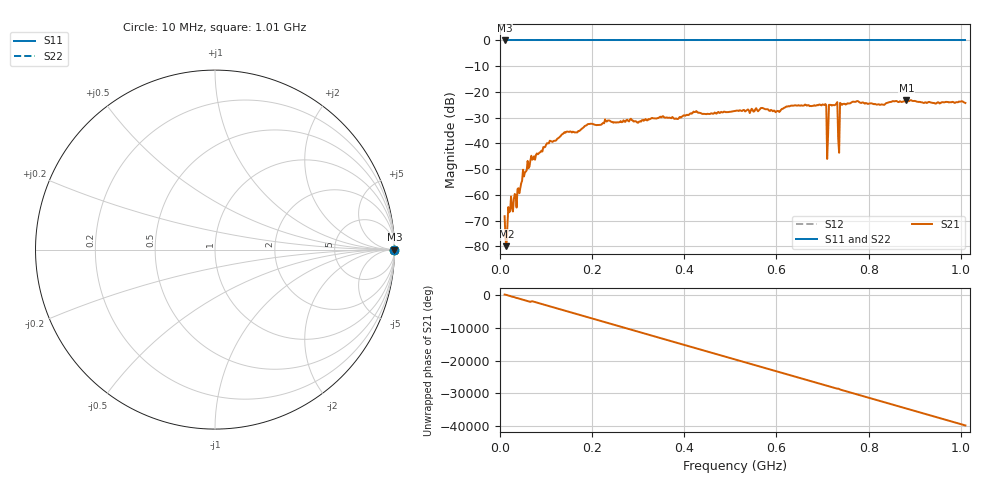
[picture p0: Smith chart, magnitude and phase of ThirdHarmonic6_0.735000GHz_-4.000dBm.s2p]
! 8/16/2025 12:35:03 AM
! C:\ANRITSUVNA\TEMP\TEMP.S2P
! CHANNEL.1
! TR.MEASUREMENT
! RAW.DATA
! RF.CORRECTION.OFF
! AVERAGING.OFF
! IF.BANDWIDTH: 5KHZ
! SWEEPTYPE:  FREQ.SWEEP(Linear)
! Reference Plane Port Info
! PORT:  PORT1  PORT2
! DISTANCE:  0  m  0  m
! TIME:  0  s  0  s
! PHASE.OFFSET:  0  deg.  0  deg.
! LOSS:  0  dB  0  dB
! REF.LOSS:  0  dB  0  dB
! REF.FREQ:  0  Hz  0  Hz
! Power Info
! POWER:  -20  dBm  -20  dBm
! EFF.POWER:  -20  dBm  -20  dBm
! SOURCE.ATTEN:  0  dB  0  dB
! TEST.ATTEN:  0  dB  0  dB
# GHZ S RI R 50.0
! FREQ.GHZ  S11RE  S11IM  S21RE  S21IM  S12RE  S12IM  S22RE  S22IM
!; PortSelection: Port_12
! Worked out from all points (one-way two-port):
!   501 points, 10 MHz to 1.01 GHz, reference 50 ohm
!   highest |S21| = -23.20 dB at 882 MHz (marker M1); lowest = -80.0 dB at 14 MHz (marker M2)
!   lowest |S11| = 0.0 dB at 10 MHz (marker M3)
!   |S11| at or under -10 dB: nowhere
!   |S22| runs from 0.0 to 0.0 dB; largest |S21 - S12| = 1.1
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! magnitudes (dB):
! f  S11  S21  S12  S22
! 10 MHz  0.0  -68.3  0.0  0.0
! 14 MHz  0.0  -80.0  0.0  0.0
! 22 MHz  0.0  -66.3  0.0  0.0
! 32 MHz  0.0  -59.7  0.0  0.0
! 70 MHz  0.0  -46.4  0.0  0.0
! 140 MHz  0.0  -35.7  0.0  0.0
! 178 MHz  0.0  -34.3  0.0  0.0
! 344 MHz  0.0  -30.1  0.0  0.0
! 510 MHz  0.0  -27.4  0.0  0.0
! 678 MHz  0.0  -25.4  0.0  0.0
! 704 MHz  0.0  -25.1  0.0  0.0
! 708 MHz  0.0  -25.2  0.0  0.0
! 712 MHz  0.0  -36.8  0.0  0.0
! 714 MHz  0.0  -25.0  0.0  0.0
! 718 MHz  0.0  -25.0  0.0  0.0
! 728 MHz  0.0  -25.0  0.0  0.0
! 732 MHz  0.0  -24.0  0.0  0.0
! 738 MHz  0.0  -24.3  0.0  0.0
! 742 MHz  0.0  -25.1  0.0  0.0
! 844 MHz  0.0  -24.1  0.0  0.0
! 882 MHz  0.0  -23.2  0.0  0.0
! 1.01 GHz  0.0  -24.3  0.0  0.0
